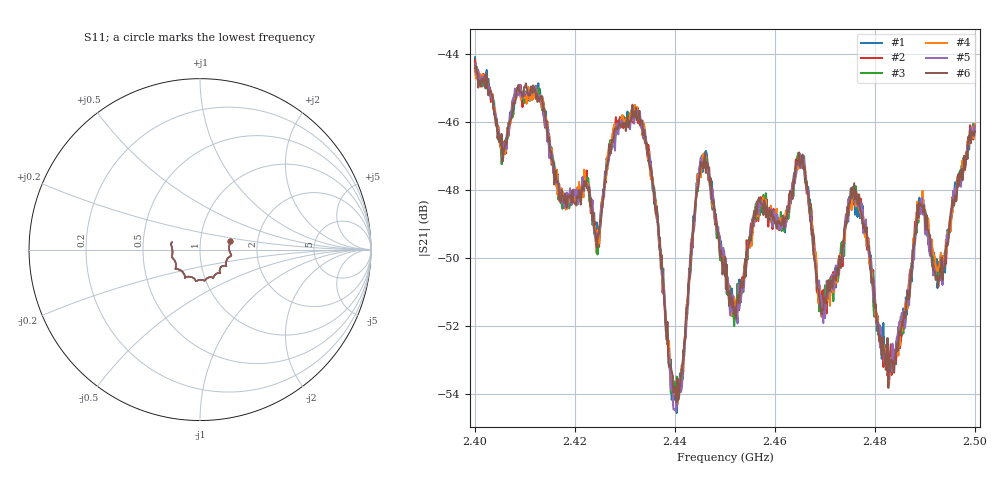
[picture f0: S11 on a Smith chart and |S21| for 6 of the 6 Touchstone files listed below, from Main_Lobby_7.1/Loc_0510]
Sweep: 2.4 GHz to 2.5 GHz
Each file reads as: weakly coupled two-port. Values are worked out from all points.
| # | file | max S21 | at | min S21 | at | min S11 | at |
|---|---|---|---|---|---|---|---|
| 1 | Lab_139_1Ch1.s2p | -44.08 dB | 2.4 GHz | -54.6 dB | 2.4403 GHz | -15.9 dB | 2.4257 GHz |
| 2 | Lab_139_2Ch1.s2p | -44.16 dB | 2.4 GHz | -54.2 dB | 2.4405 GHz | -15.9 dB | 2.4257 GHz |
| 3 | Lab_139_3Ch1.s2p | -44.36 dB | 2.4003 GHz | -54.0 dB | 2.44 GHz | -15.9 dB | 2.4258 GHz |
| 4 | Lab_139_4Ch1.s2p | -44.29 dB | 2.4 GHz | -54.3 dB | 2.4405 GHz | -15.9 dB | 2.4257 GHz |
| 5 | Lab_139_6Ch1.s2p | -44.27 dB | 2.4002 GHz | -54.5 dB | 2.4402 GHz | -15.9 dB | 2.4258 GHz |
| 6 | Lab_139_7Ch1.s2p | -44.34 dB | 2.4002 GHz | -54.2 dB | 2.4403 GHz | -15.9 dB | 2.4258 GHz |
